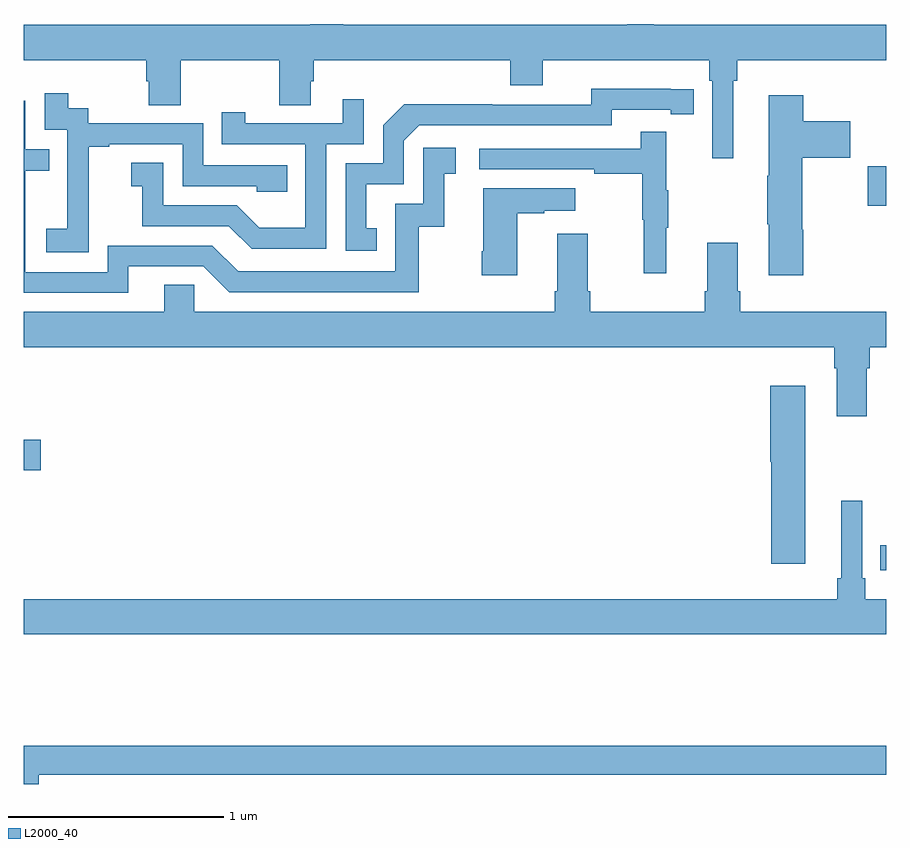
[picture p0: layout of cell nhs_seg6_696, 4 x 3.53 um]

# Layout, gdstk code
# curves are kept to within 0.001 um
import gdstk
lib = gdstk.Library(unit=1e-6, precision=1e-09)
def R(c, l, rs):  # rectangles x0, y0, x1, y1
    for r in rs: c.add(gdstk.rectangle(r[:2], r[2:], *l))
def P(c, l, *ps):  # polygons
    for p in ps: c.add(gdstk.Polygon(p, *l))
L2000_40 = (2000, 40)

nhs_seg6_696 = lib.new_cell('nhs_seg6_696')
R(nhs_seg6_696, L2000_40, [(158.974,948.966,159,949.082), (155,949.43,155.077,949.572), (158.916,950.657,159,950.84)])
P(nhs_seg6_696, L2000_40, [(158.29,951.236),(158.309,951.236),(158.309,951.332),(159,951.332),(159,951.496),(157.921,951.496),(157.921,951.5),(157.799,951.5),(157.799,951.496),(156.482,951.496),(156.482,951.5),(156.329,951.5),(156.329,951.496),(155,951.496),(155,951.332),(155.567,951.332),(155.567,951.234),(155.579,951.234),(155.579,951.124),(155.727,951.124),(155.727,951.332),(156.184,951.332),(156.184,951.124),(156.331,951.124),(156.331,951.234),(156.344,951.234),(156.344,951.332),(157.256,951.332),(157.256,951.215),(157.408,951.215),(157.408,951.332),(158.18,951.332),(158.18,951.236),(158.193,951.236),(158.193,950.877),(158.29,950.877)],
  [(156.638,950.553),(156.589,950.553),(156.589,950.757),(156.762,950.757),(156.762,950.958),(156.834,951.03),(157.728,951.03),(157.728,951.102),(158,951.102),(158,951.082),(158.108,951.082),(158.108,951.198),(157.632,951.199),(157.632,951.126),(157.172,951.126),(157.172,951.128),(156.764,951.128),(156.666,951.03),(156.666,950.853),(156.492,950.853),(156.492,950.448),(156.638,950.448)],
  [(155.301,950.647),(155.3,950.647),(155.3,950.931),(155.395,950.931),(155.395,950.943),(155.736,950.943),(155.736,950.748),(156.081,950.748),(156.081,950.721),(156.221,950.721),(156.221,950.844),(155.832,950.844),(155.832,951.039),(155.298,951.039),(155.298,951.108),(155.206,951.108),(155.206,951.178),(155.097,951.178),(155.097,951.009),(155.202,951.009),(155.202,950.78),(155.201,950.78),(155.201,950.551),(155.103,950.551),(155.103,950.441),(155.301,950.441)],
  [(158.615,950.546),(158.61,950.546),(158.61,950.879),(158.833,950.879),(158.833,951.049),(158.615,951.049),(158.615,951.169),(158.456,951.169),(158.456,950.795),(158.449,950.795),(158.449,950.572),(158.456,950.572),(158.456,950.334),(158.615,950.334)],
  [(156.402,950.943),(156.576,950.943),(156.576,951.151),(156.479,951.151),(156.479,951.039),(156.028,951.039),(156.028,951.091),(155.917,951.091),(155.917,950.943),(156.306,950.943),(156.306,950.554),(156.092,950.554),(155.988,950.658),(155.646,950.658),(155.646,950.857),(155.499,950.857),(155.499,950.747),(155.548,950.747),(155.548,950.562),(155.951,950.562),(156.056,950.457),(156.402,950.457)],
  [(155.485,950.376),(155.832,950.376),(155.952,950.256),(156.832,950.256),(156.832,950.559),(156.95,950.559),(156.95,950.805),(157.003,950.805),(157.003,950.926),(156.852,950.926),(156.852,950.667),(156.723,950.667),(156.723,950.352),(155.994,950.352),(155.874,950.472),(155.388,950.472),(155.388,950.349),(155.007,950.349),(155.007,950.818),(155.117,950.818),(155.117,950.919),(155.007,950.919),(155.007,951.144),(155,951.144),(155,950.253),(155.485,950.253)],
  [(157.979,950.555),(157.99,950.555),(157.99,950.729),(157.979,950.729),(157.979,951.001),(157.861,951.001),(157.861,950.922),(157.113,950.922),(157.113,950.826),(157.645,950.826),(157.645,950.806),(157.869,950.806),(157.869,950.592),(157.876,950.592),(157.876,950.343),(157.979,950.343)],
  [(157.288,950.623),(157.415,950.623),(157.415,950.633),(157.558,950.633),(157.558,950.737),(157.13,950.737),(157.13,950.446),(157.123,950.446),(157.123,950.334),(157.288,950.334)],
  [(158.911,949.904),(158.924,949.904),(158.924,950),(159,950),(159,950.164),(158.324,950.164),(158.324,950.26),(158.311,950.26),(158.311,950.485),(158.171,950.485),(158.171,950.26),(158.159,950.26),(158.159,950.164),(157.628,950.164),(157.628,950.26),(157.615,950.26),(157.615,950.527),(157.475,950.527),(157.475,950.26),(157.463,950.26),(157.463,950.164),(155.79,950.164),(155.79,950.291),(155.651,950.291),(155.651,950.164),(155,950.164),(155,950),(158.759,950),(158.759,949.904),(158.771,949.904),(158.771,949.68),(158.911,949.68)],
  [(158.626,949.822),(158.462,949.822),(158.462,949.47),(158.468,949.47),(158.468,948.996),(158.626,948.996)],
  [(159,948.832),(158.903,948.832),(158.903,948.928),(158.889,948.928),(158.889,949.288),(158.792,949.288),(158.792,948.928),(158.773,948.928),(158.773,948.832),(155,948.832),(155,948.668),(159,948.668)],
  [(155.068,948.016),(159,948.016),(159,948.152),(155,948.152),(155,947.974),(155.068,947.974)])

lib.write_gds('nhs_seg6_696.gds')
